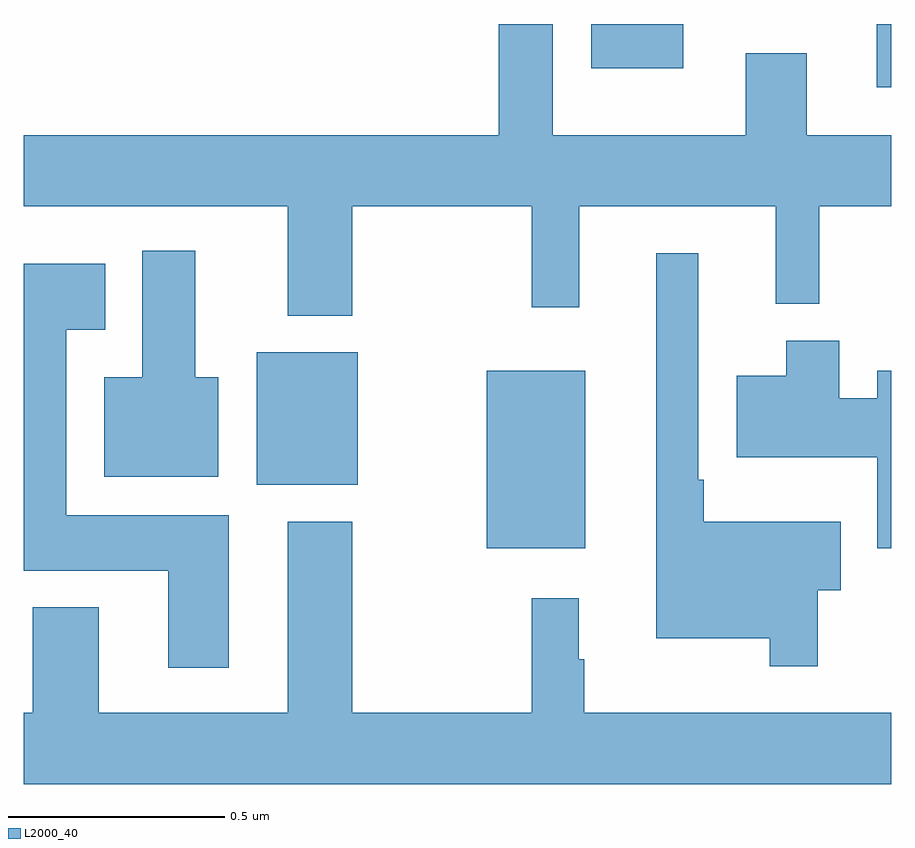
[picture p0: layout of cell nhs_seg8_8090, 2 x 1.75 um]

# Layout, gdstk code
import gdstk
lib = gdstk.Library(unit=1e-6, precision=1e-09)
def R(c, l, rs):  # rectangles x0, y0, x1, y1
    for r in rs: c.add(gdstk.rectangle(r[:2], r[2:], *l))
def P(c, l, *ps):  # polygons
    for p in ps: c.add(gdstk.Polygon(p, *l))
L2000_40 = (2000, 40)

nhs_seg8_8090 = lib.new_cell('nhs_seg8_8090')
R(nhs_seg8_8090, L2000_40, [(219.068,1135.691,219.295,1136.101), (218.537,1135.838,218.77,1136.143), (219.966,1136.754,220,1136.9), (219.308,1136.798,219.52,1136.9)])
P(nhs_seg8_8090, L2000_40, [(218.757,1136.48),(219.171,1136.48),(219.171,1136.247),(219.281,1136.247),(219.281,1136.48),(219.734,1136.48),(219.734,1136.255),(219.834,1136.255),(219.834,1136.48),(220,1136.48),(220,1136.644),(219.805,1136.644),(219.805,1136.833),(219.665,1136.833),(219.665,1136.644),(219.22,1136.644),(219.22,1136.9),(219.095,1136.9),(219.095,1136.644),(218,1136.644),(218,1136.48),(218.609,1136.48),(218.609,1136.228),(218.757,1136.228)],
  [(218.449,1136.086),(218.395,1136.086),(218.395,1136.377),(218.273,1136.377),(218.273,1136.086),(218.186,1136.086),(218.186,1135.856),(218.449,1135.856)],
  [(219.831,1135.595),(219.883,1135.595),(219.883,1135.753),(219.568,1135.753),(219.568,1135.849),(219.555,1135.849),(219.555,1136.371),(219.458,1136.371),(219.458,1135.484),(219.72,1135.484),(219.72,1135.419),(219.831,1135.419)],
  [(218.473,1135.768),(218.098,1135.768),(218.098,1136.195),(218.188,1136.195),(218.188,1136.347),(218,1136.347),(218,1135.64),(218.333,1135.64),(218.333,1135.416),(218.473,1135.416)],
  [(220,1136.101),(219.968,1136.101),(219.968,1136.037),(219.88,1136.037),(219.88,1136.17),(219.758,1136.17),(219.758,1136.089),(219.644,1136.089),(219.644,1135.901),(219.968,1135.901),(219.968,1135.691),(220,1135.691)],
  [(220,1135.312),(219.292,1135.312),(219.292,1135.436),(219.28,1135.436),(219.28,1135.576),(219.171,1135.576),(219.171,1135.312),(218.757,1135.312),(218.757,1135.753),(218.609,1135.753),(218.609,1135.312),(218.173,1135.312),(218.173,1135.555),(218.021,1135.555),(218.021,1135.312),(218,1135.312),(218,1135.148),(220,1135.148)])

lib.write_gds('nhs_seg8_8090.gds')
